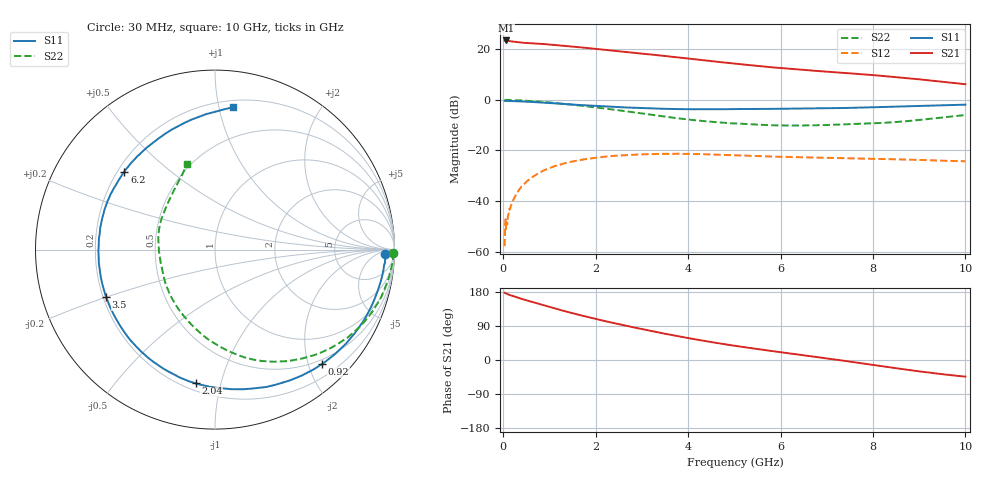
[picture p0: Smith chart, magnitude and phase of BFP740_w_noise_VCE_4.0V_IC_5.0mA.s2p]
! Infineon Technologies  Discrete & RF Semiconductors
! BFP740
! VCE =  4.0 V,  IC =  5.0 mA
! Common Emitter S-Parameters:  Jan 2016
# GHz  S  MA  R  50
!  f  S11  S21  S12  S22
! GHz  MAG  ANG  MAG  ANG  MAG  ANG  MAG  ANG
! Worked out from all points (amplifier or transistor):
!   229 points, 30 MHz to 10 GHz, reference 50 ohm
!   highest |S21| = 23.4 dB at 60 MHz (marker M1)
!   |S21| within 3 dB of that: start of sweep to 1.83 GHz
!   unconditionally stable (mu >= 1): 7.93 GHz to end of sweep
!   at 280 MHz: K = 0.12, MSG = 30.1 dB, |S12| = -37.4 dB
!   at 1.78 GHz: K = 0.23, MSG = 21.9 dB, |S12| = -23.4 dB
!   at 10 GHz: K = 1.15, MAG = 12.8 dB, |S12| = -24.3 dB
!   lowest NFmin = 0.44 dB at 450 MHz
!   S11 on the Smith chart (normalised r, x): 30 MHz: 30, -16; 920 MHz: 0.42, -2.25; 2.04 GHz: 0.24, -0.83; 3.5 GHz: 0.21, -0.20; 6.2 GHz: 0.23, +0.35; 10 GHz: 0.25, +1.10
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0.03  0.9496 -1.6  14.69 177.3  0.0013 102.3  0.9935 -1.1
0.05  0.9522 -2.6  14.7 176.5  0.0044 92.3  0.9944 -1.9
0.06  0.9494 -3.3  14.74 175.6  0.0028 62.9  0.9925 -2.3
0.195  0.9409 -10.4  14.06 169.0  0.0095 79.4  0.9849 -7.1
0.4  0.9256 -20.8  13.43 161.1  0.0197 75.3  0.9667 -14.1
0.6  0.9073 -30.9  13.03 153.9  0.0285 69.2  0.9455 -20.7
0.92  0.873 -46.8  12.44 142.6  0.042 59.7  0.8993 -31.0
1.3  0.8277 -64.9  11.53 129.8  0.055 49.2  0.832 -42.7
1.7  0.7831 -83.3  10.7 117.3  0.0658 39.2  0.7609 -53.7
2.04  0.7524 -98.3  9.972 107.4  0.0726 31.4  0.6989 -63.3
2.3  0.7303 -109.5  9.439 99.9  0.077 25.7  0.6542 -70.0
2.78  0.6965 -128.8  8.483 87.2  0.0822 16.6  0.5725 -82.0
3.4  0.6645 -152.9  7.442 71.7  0.0857 5.9  0.4794 -98.6
3.5  0.6619 -156.5  7.28 69.3  0.0859 4.4  0.4649 -101.4
3.9  0.6517 -170.4  6.653 60.1  0.0857 -1.5  0.417 -112.6
4.3  0.6482 177.2  6.061 51.4  0.0846 -6.9  0.3825 -123.7
5.1  0.6553 157.7  5.052 35.9  0.0801 -15.1  0.3374 -143.5
6.2  0.666 139.3  4.073 17.5  0.0743 -22.0  0.3107 -168.5
6.8  0.676 129.9  3.69 7.5  0.0723 -25.2  0.314 177.2
8.4  0.7276 103.1  2.848 -19.9  0.0673 -32.0  0.3585 140.2
9  0.756 93.8  2.527 -30.1  0.0652 -34.2  0.3998 125.3
10  0.7998 82.7  2.023 -44.0  0.0613 -35.1  0.5 108.2
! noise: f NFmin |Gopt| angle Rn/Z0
0.45  0.44  0.4  11  0.23
0.9  0.45  0.41  17  0.22
1.5  0.49  0.39  26  0.21
1.9  0.52  0.38  42  0.21
2.4  0.55  0.38  46  0.2
3.5  0.65  0.35  68  0.18
5.5  0.87  0.24  164  0.16
10  1.52  0.55  -82  0.21
